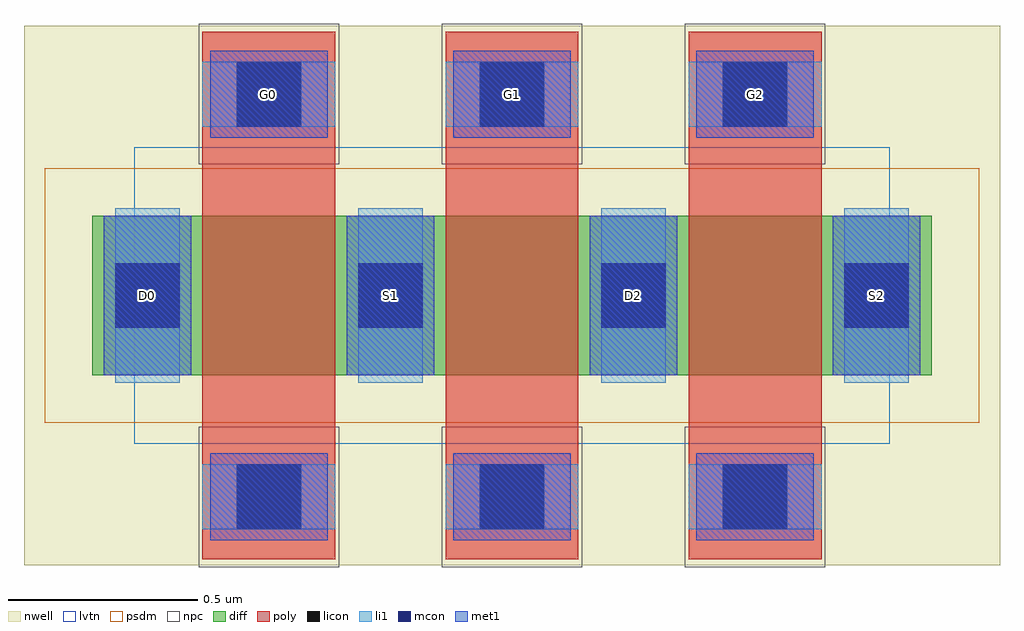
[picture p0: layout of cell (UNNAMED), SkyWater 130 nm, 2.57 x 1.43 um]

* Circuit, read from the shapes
.subckt (UNNAMED) D0 D2 G0 G1 G2 S1 S2
XM1 S1 G0 D0 n1 sky130_fd_pr__pfet_01v8_lvt w=0.42 l=0.35
XM2 D2 G1 S1 n1 sky130_fd_pr__pfet_01v8_lvt w=0.42 l=0.35
XM3 S2 G2 D2 n1 sky130_fd_pr__pfet_01v8_lvt w=0.42 l=0.35
.ends

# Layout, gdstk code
import gdstk
lib = gdstk.Library(unit=1e-6, precision=1e-09)
def R(c, l, rs):  # rectangles x0, y0, x1, y1
    for r in rs: c.add(gdstk.rectangle(r[:2], r[2:], *l))
def A(c, l, x, y, w, h, nx, ny, dx, dy):  # array of equal rectangles
    R(c, l, [(x+i*dx, y+j*dy, x+i*dx+w, y+j*dy+h) for i in range(nx) for j in range(ny)])
nwell = (64, 20)
diff = (65, 20)
poly = (66, 20)
licon = (66, 44)
li1 = (67, 20)
mcon = (67, 44)
met1 = (68, 20)
psdm = (94, 20)
npc = (95, 20)
lvtn = (125, 44)

c__unnamed_ = lib.new_cell('(UNNAMED)')
R(c__unnamed_, nwell, [(-1.285,-0.71,1.285,0.71)])
R(c__unnamed_, diff, [(-1.105,-0.21,1.105,0.21)])
A(c__unnamed_, poly, -0.815, -0.695, 0.35, 1.39, 3, 1, 0.64, 0)
A(c__unnamed_, licon, -0.725, -0.615, 0.17, 0.17, 3, 2, 0.64, 1.06)
A(c__unnamed_, licon, -1.045, -0.085, 0.17, 0.17, 4, 1, 0.64, 0)
A(c__unnamed_, li1, -0.815, -0.615, 0.35, 0.17, 3, 2, 0.64, 1.06)
A(c__unnamed_, li1, -1.045, -0.23, 0.17, 0.46, 4, 1, 0.64, 0)
A(c__unnamed_, mcon, -0.725, -0.615, 0.17, 0.17, 3, 2, 0.64, 1.06)
A(c__unnamed_, mcon, -1.045, -0.085, 0.17, 0.17, 4, 1, 0.64, 0)
A(c__unnamed_, met1, -0.795, -0.645, 0.31, 0.23, 3, 2, 0.64, 1.06)
A(c__unnamed_, met1, -1.075, -0.21, 0.23, 0.42, 4, 1, 0.64, 0)
R(c__unnamed_, psdm, [(-1.23,-0.335,1.23,0.335)])
A(c__unnamed_, npc, -0.825, -0.715, 0.37, 0.37, 3, 2, 0.64, 1.06)
R(c__unnamed_, lvtn, [(-0.995,-0.39,0.995,0.39)])
c__unnamed_.add(gdstk.Label('D0', (-0.96,0), layer=67, texttype=5))
c__unnamed_.add(gdstk.Label('G0', (-0.64,0.53), layer=67, texttype=5))
c__unnamed_.add(gdstk.Label('S1', (-0.32,0), layer=67, texttype=5))
c__unnamed_.add(gdstk.Label('G1', (0,0.53), layer=67, texttype=5))
c__unnamed_.add(gdstk.Label('D2', (0.32,0), layer=67, texttype=5))
c__unnamed_.add(gdstk.Label('S2', (0.96,0), layer=67, texttype=5))
c__unnamed_.add(gdstk.Label('G2', (0.64,0.53), layer=67, texttype=5))

lib.write_gds('_UNNAMED_.gds')
